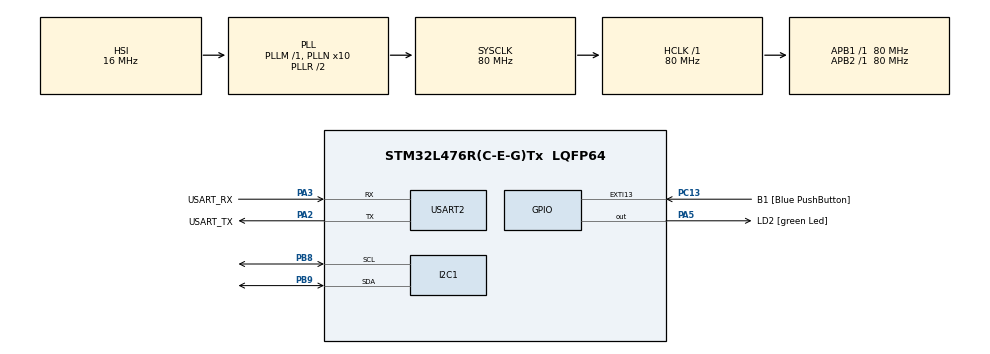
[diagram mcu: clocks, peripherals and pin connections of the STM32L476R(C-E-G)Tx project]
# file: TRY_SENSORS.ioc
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I2C1.Timing=0x10909CEC
Mcu.Family=STM32L4
Mcu.Name=STM32L476R(C-E-G)Tx
Mcu.Package=LQFP64
NVIC.PriorityGroup=NVIC_PRIORITYGROUP_4
PA13\ (JTMS-SWDIO).GPIO_Label=TMS
PA13\ (JTMS-SWDIO).Mode=Serial_Wire
PA13\ (JTMS-SWDIO).Signal=SYS_JTMS-SWDIO
PA14\ (JTCK-SWCLK).GPIO_Label=TCK
PA14\ (JTCK-SWCLK).Mode=Serial_Wire
PA14\ (JTCK-SWCLK).Signal=SYS_JTCK-SWCLK
PA2.GPIO_Label=USART_TX
PA2.GPIO_Mode=GPIO_MODE_AF_PP
PA2.GPIO_PuPd=GPIO_NOPULL
PA2.GPIO_Speed=GPIO_SPEED_FREQ_VERY_HIGH
PA2.Mode=Asynchronous
PA2.Signal=USART2_TX
PA3.GPIO_Label=USART_RX
PA3.GPIO_Mode=GPIO_MODE_AF_PP
PA3.GPIO_PuPd=GPIO_NOPULL
PA3.GPIO_Speed=GPIO_SPEED_FREQ_VERY_HIGH
PA3.Mode=Asynchronous
PA3.Signal=USART2_RX
PA5.GPIO_Label=LD2 [green Led]
PA5.GPIO_ModeDefaultOutputPP=GPIO_MODE_OUTPUT_PP
PA5.GPIO_PuPd=GPIO_NOPULL
PA5.GPIO_Speed=GPIO_SPEED_FREQ_LOW
PA5.Signal=GPIO_Output
PB3\ (JTDO-TRACESWO).GPIO_Label=SWO
PB3\ (JTDO-TRACESWO).Signal=SYS_JTDO-SWO
PB8.Mode=I2C
PB8.Signal=I2C1_SCL
PB9.Mode=I2C
PB9.Signal=I2C1_SDA
PC13.GPIO_Label=B1 [Blue PushButton]
PC13.GPIO_ModeDefaultEXTI=GPIO_MODE_IT_FALLING
PC13.GPIO_PuPd=GPIO_NOPULL
PC13.Signal=GPXTI13
PC14-OSC32_IN\ (PC14).Mode=LSE-External-Oscillator
PC14-OSC32_IN\ (PC14).Signal=RCC_OSC32_IN
PC15-OSC32_OUT\ (PC15).Mode=LSE-External-Oscillator
PC15-OSC32_OUT\ (PC15).Signal=RCC_OSC32_OUT
PH0-OSC_IN\ (PH0).Signal=RCC_OSC_IN
PH1-OSC_OUT\ (PH1).Signal=RCC_OSC_OUT
ProjectManager.HeapSize=0x200
ProjectManager.StackSize=0x400
ProjectManager.TargetToolchain=STM32CubeIDE
RCC.ADCFreq_Value=64000000
RCC.AHBFreq_Value=80000000
RCC.APB1Freq_Value=80000000
RCC.APB1TimFreq_Value=80000000
RCC.APB2Freq_Value=80000000
RCC.APB2TimFreq_Value=80000000
RCC.CortexFreq_Value=80000000
RCC.HCLKFreq_Value=80000000
RCC.HSE_VALUE=8000000
RCC.HSI_VALUE=16000000
RCC.MSI_VALUE=4000000
RCC.PLLN=10
RCC.PLLSourceVirtual=RCC_PLLSOURCE_HSI
RCC.PREFETCH_ENABLE=1
RCC.SYSCLKFreq_VALUE=80000000
RCC.SYSCLKSource=RCC_SYSCLKSOURCE_PLLCLK
RCC.USBFreq_Value=64000000
RCC.VCOOutputFreq_Value=160000000
USART2.VirtualMode-Asynchronous=VM_ASYNC
board=NUCLEO-L476RG

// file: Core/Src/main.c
/* USER CODE BEGIN Header */
/**
  ******************************************************************************
  * @file           : main.c
  * @brief          : Main program body
  ******************************************************************************
  * @attention
  *
  * Copyright (c) 2024 STMicroelectronics.
  * All rights reserved.
  *
  * This software is licensed under terms that can be found in the LICENSE file
  * in the root directory of this software component.
  * If no LICENSE file comes with this software, it is provided AS-IS.
  *
  ******************************************************************************
  */
/* USER CODE END Header */
#include "main.h"
#include "i2c.h"
#include "usart.h"
#include "gpio.h"

/* USER CODE BEGIN Includes */
#include <string.h>
#include <stdio.h>
#include "stts751_reg.h"

/* USER CODE END Includes */

/* USER CODE BEGIN PV */
static int16_t data_raw_temperature;
static float temperature_degC;
static stts751_id_t whoamI;
static uint8_t tx_buffer[1000];
/* USER CODE END PV */

void SystemClock_Config(void);
/* USER CODE BEGIN PFP */
static int32_t platform_write(void *handle, uint8_t reg, const uint8_t *bufp,
                              uint16_t len);
static int32_t platform_read(void *handle, uint8_t reg, uint8_t *bufp,
                             uint16_t len);

#ifdef __GNUC__
#define PUTCHAR_PROTOTYPE int __io_putchar(int ch)
#else
#define PUTCHAR_PROTOTYPE int fputc(int ch, FILE *f)
#endif /* __GNUC__ */
/* USER CODE END PFP */

int main(void)
{
  /* USER CODE BEGIN 1 */
	stmdev_ctx_t dev_ctx;
		dev_ctx.write_reg = platform_write;
		dev_ctx.read_reg = platform_read;
		dev_ctx.mdelay = HAL_Delay;
		dev_ctx.handle = &hi2c1;
  /* USER CODE END 1 */

  /* MCU Configuration--------------------------------------------------------*/

  /* Reset of all peripherals, Initializes the Flash interface and the Systick. */
  HAL_Init();

  /* Configure the system clock */
  SystemClock_Config();

  /* Initialize all configured peripherals */
  MX_GPIO_Init();
  MX_USART2_UART_Init();
  MX_I2C1_Init();
  /* USER CODE BEGIN 2 */
  /* Check device ID */
      stts751_device_id_get(&dev_ctx, &whoamI);

      if ( (whoamI.product_id != STTS751_ID_1xxxx) ||
           //(whoamI.product_id != STTS751_ID_1xxxx) ||
           (whoamI.manufacturer_id != STTS751_ID_MAN) ||
           (whoamI.revision_id != STTS751_REV) ){
      	while (1); /* manage here device not found */
      }

      /* Enable interrupt on high(=49.5 degC)/low(=-4.5 degC) temperature. */
      float temperature_high_limit = 49.5f;
      stts751_high_temperature_threshold_set(&dev_ctx,
                                             stts751_from_celsius_to_lsb(temperature_high_limit));
      float temperature_low_limit = -4.5f;
      stts751_low_temperature_threshold_set(&dev_ctx,
                                            stts751_from_celsius_to_lsb(temperature_low_limit));
      stts751_pin_event_route_set(&dev_ctx,  PROPERTY_ENABLE);
      /* Set Output Data Rate */
      stts751_temp_data_rate_set(&dev_ctx, STTS751_TEMP_ODR_1Hz);
      /* Set Resolution */
      stts751_resolution_set(&dev_ctx, STTS751_11bit);

  /* USER CODE END 2 */

  /* Infinite loop */
  while (1)
  {

    /* USER CODE BEGIN 3 */
	  uint8_t flag;
	 	  stts751_flag_busy_get(&dev_ctx, &flag);

	 	  if (flag) {
	 		/* Read temperature data */
	 		memset(&data_raw_temperature, 0, sizeof(int16_t));
	 		stts751_temperature_raw_get(&dev_ctx, &data_raw_temperature);
	 		temperature_degC = stts751_from_lsb_to_celsius(
	 							 data_raw_temperature);
	 		sprintf((char *)tx_buffer, "Temperature [degC]:%3.2f\r\n",
	 				temperature_degC);
	 		HAL_UART_Transmit(&huart2, tx_buffer, strlen((char const *)tx_buffer), 1000);
	 	  }
  }
  /* USER CODE END 3 */
}

void SystemClock_Config(void)
{
  RCC_OscInitTypeDef RCC_OscInitStruct = {0};
  RCC_ClkInitTypeDef RCC_ClkInitStruct = {0};

  /** Configure the main internal regulator output voltage
  */
  if (HAL_PWREx_ControlVoltageScaling(PWR_REGULATOR_VOLTAGE_SCALE1) != HAL_OK)
  {
    Error_Handler();
  }

  /** Initializes the RCC Oscillators according to the specified parameters
  * in the RCC_OscInitTypeDef structure.
  */
  RCC_OscInitStruct.OscillatorType = RCC_OSCILLATORTYPE_HSI;
  RCC_OscInitStruct.HSIState = RCC_HSI_ON;
  RCC_OscInitStruct.HSICalibrationValue = RCC_HSICALIBRATION_DEFAULT;
  RCC_OscInitStruct.PLL.PLLState = RCC_PLL_ON;
  RCC_OscInitStruct.PLL.PLLSource = RCC_PLLSOURCE_HSI;
  RCC_OscInitStruct.PLL.PLLM = 1;
  RCC_OscInitStruct.PLL.PLLN = 10;
  RCC_OscInitStruct.PLL.PLLP = RCC_PLLP_DIV7;
  RCC_OscInitStruct.PLL.PLLQ = RCC_PLLQ_DIV2;
  RCC_OscInitStruct.PLL.PLLR = RCC_PLLR_DIV2;
  if (HAL_RCC_OscConfig(&RCC_OscInitStruct) != HAL_OK)
  {
    Error_Handler();
  }

  /** Initializes the CPU, AHB and APB buses clocks
  */
  RCC_ClkInitStruct.ClockType = RCC_CLOCKTYPE_HCLK|RCC_CLOCKTYPE_SYSCLK
                              |RCC_CLOCKTYPE_PCLK1|RCC_CLOCKTYPE_PCLK2;
  RCC_ClkInitStruct.SYSCLKSource = RCC_SYSCLKSOURCE_PLLCLK;
  RCC_ClkInitStruct.AHBCLKDivider = RCC_SYSCLK_DIV1;
  RCC_ClkInitStruct.APB1CLKDivider = RCC_HCLK_DIV1;
  RCC_ClkInitStruct.APB2CLKDivider = RCC_HCLK_DIV1;

  if (HAL_RCC_ClockConfig(&RCC_ClkInitStruct, FLASH_LATENCY_4) != HAL_OK)
  {
    Error_Handler();
  }
}

/* USER CODE BEGIN 4 */
PUTCHAR_PROTOTYPE
{
HAL_UART_Transmit(&huart2, (uint8_t *)&ch, 1, 100);
return ch;
}

static int32_t platform_write(void *handle, uint8_t reg, const uint8_t *bufp,
                              uint16_t len)
{
  HAL_I2C_Mem_Write(handle, STTS751_1xxxx_ADD_7K5, reg,
                    I2C_MEMADD_SIZE_8BIT, (uint8_t*) bufp, len, 1000);
  return 0;
}

static int32_t platform_read(void *handle, uint8_t reg, uint8_t *bufp,
                             uint16_t len)
{
  HAL_I2C_Mem_Read(handle, STTS751_1xxxx_ADD_7K5, reg,
              	  	  I2C_MEMADD_SIZE_8BIT, bufp, len, 1000);
  return 0;
}

/* USER CODE END 4 */

void Error_Handler(void)
{
  __disable_irq();
  while (1)
  {
  }
}
